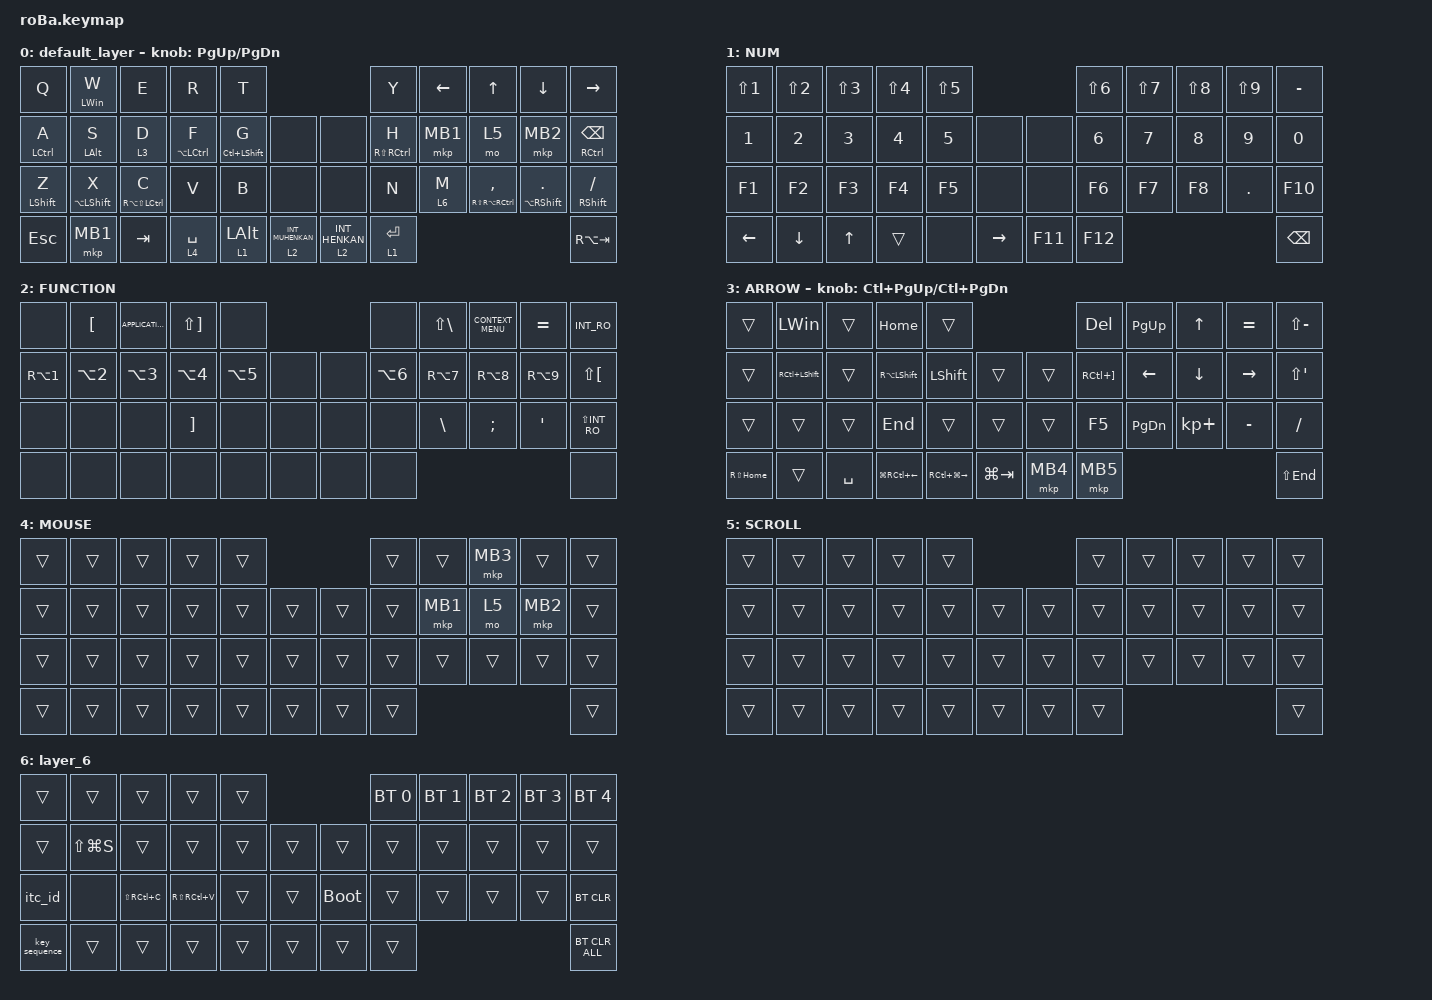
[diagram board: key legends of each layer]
#include <behaviors.dtsi>
#include <dt-bindings/zmk/bt.h>
#include <dt-bindings/zmk/keys.h>
#include <dt-bindings/zmk/pointing.h>

&mt {
    flavor = "tap-preferred";
    tapping-term-ms = <180>;
    require-prior-idle-ms = <70>;
};

&trackball {
    automouse-layer = <4>;
    scroll-layers = <5>;

    // arrows {
    //     layers = <3>;
    //     bindings =
    //         <&kp RIGHT_ARROW>,
    //         <&kp LEFT_ARROW>,
    //         <&kp UP_ARROW>,
    //         <&kp DOWN_ARROW>;
    //     tick = <10>;
    //     wait-ms = <5>;
    //     tap-ms = <5>;
    // };
};

/ {
    combos { compatible = "zmk,combos"; };

    macros {
        to_layer_0: to_layer_0 {
            compatible = "zmk,behavior-macro-one-param";
            #binding-cells = <1>;
            bindings = <&to 0 &macro_param_1to1 &kp MACRO_PLACEHOLDER>;
            label = "TO_LAYER_0";
        };

        key_sequence: key_sequense {
            compatible = "zmk,behavior-macro";
            #binding-cells = <0>;
            bindings = <&kp LS(I) &kp T &kp P &kp C &kp N1 &kp N8 &kp N5 &kp N8>;
            label = "KEY_SEQUENSE";
        };

        itc_id: itc_id {
            compatible = "zmk,behavior-macro";
            #binding-cells = <0>;
            bindings = <&kp N2 &kp N5 &kp N2 &kp N5 &kp N0 &kp N0 &kp N0>;
            label = "ITC_ID";
        };
    };

    behaviors {
        lt_to_layer_0: lt_to_layer_0 {
            compatible = "zmk,behavior-hold-tap";
            label = "LAYER_TAP_TO_0";
            bindings = <&mo>, <&to_layer_0>;

            // Strong tap bias for Space

            flavor = "tap-preferred";
            #binding-cells = <2>;
            tapping-term-ms = <300>;

            // Prevent hold during continuous typing

            require-prior-idle-ms = <500>;
        };
    };

    keymap {
        compatible = "zmk,keymap";

        default_layer {
            bindings = <
&kp Q               &mt LEFT_WIN W        &kp E                       &kp R                   &kp T                                                           &kp Y                    &kp LEFT_ARROW  &kp UP_ARROW                     &kp DOWN            &kp RIGHT
&mt LEFT_CONTROL A  &mt LEFT_ALT S        &lt 3 D                     &mt LA(LEFT_CONTROL) F  &mt LC(LEFT_SHIFT) G  &none                   &none             &mt RS(RIGHT_CONTROL) H  &mkp MB1        &mo 5                            &mkp MB2            &mt RIGHT_CONTROL BACKSPACE
&mt LEFT_SHIFT Z    &mt LA(LEFT_SHIFT) X  &mt RA(LS(LEFT_CONTROL)) C  &kp V                   &kp B                 &none                   &none             &kp N                    &lt 6 M         &mt RS(RA(RIGHT_CONTROL)) COMMA  &mt LA(RSHIFT) DOT  &mt RIGHT_SHIFT SLASH
&kp ESCAPE          &mkp MB1              &kp TAB                     &lt_to_layer_0 4 SPACE  &lt 1 LEFT_ALT        &lt 2 INT_MUHENKAN      &lt 2 INT_HENKAN  &lt 1 ENTER                                                                                   &kp RA(TAB)
            >;

            sensor-bindings = <&inc_dec_kp PG_UP PAGE_DOWN>;
        };

        NUM {
            bindings = <
&kp LS(NUMBER_1)  &kp LS(NUMBER_2)  &kp LS(NUMBER_3)  &kp LS(NUMBER_4)  &kp LS(N5)                          &kp LS(NUMBER_6)  &kp LS(N7)  &kp LS(N8)  &kp LS(N9)  &kp MINUS
&kp NUMBER_1      &kp NUMBER_2      &kp NUMBER_3      &kp NUMBER_4      &kp N5      &none          &none    &kp NUMBER_6      &kp N7      &kp N8      &kp N9      &kp N0
&kp F1            &kp F2            &kp F3            &kp F4            &kp F5      &none          &none    &kp F6            &kp F7      &kp F8      &kp PERIOD  &kp F10
&kp LEFT          &kp DOWN          &kp UP_ARROW      &trans            &none       &kp RIGHT      &kp F11  &kp F12                                               &kp BACKSPACE
            >;
        };

        FUNCTION {
            bindings = <
&none             &kp LEFT_BRACKET  &kp K_APPLICATION  &kp LS(RIGHT_BRACKET)  &none                         &none             &kp LS(BACKSLASH)  &kp K_CONTEXT_MENU  &kp EQUAL   &kp INT_RO
&kp RA(NUMBER_1)  &kp LA(NUMBER_2)  &kp LA(NUMBER_3)   &kp LA(NUMBER_4)       &kp LA(N5)  &none      &none  &kp LA(NUMBER_6)  &kp RA(N7)         &kp RA(N8)          &kp RA(N9)  &kp LS(LEFT_BRACKET)
&none             &none             &none              &kp RIGHT_BRACKET      &none       &none      &none  &none             &kp BACKSLASH      &kp SEMI            &kp APOS    &kp LS(INT_RO)
&none             &none             &none              &none                  &none       &none      &none  &none                                                                &none
            >;
        };

        ARROW {
            bindings = <
&trans        &kp LEFT_WIN        &trans     &kp HOME            &trans                                        &kp DEL                &kp PAGE_UP    &kp UP_ARROW  &kp EQUAL  &kp LS(MINUS)
&trans        &kp RC(LEFT_SHIFT)  &trans     &kp RA(LEFT_SHIFT)  &kp LEFT_SHIFT     &trans           &trans    &kp RC(RIGHT_BRACKET)  &kp LEFT       &kp DOWN      &kp RIGHT  &kp LS(SINGLE_QUOTE)
&trans        &trans              &trans     &kp END             &trans             &trans           &trans    &kp F5                 &kp PAGE_DOWN  &kp KP_PLUS   &kp MINUS  &kp SLASH
&kp RS(HOME)  &trans              &kp SPACE  &kp LG(RC(LEFT))    &kp RC(LG(RIGHT))  &kp LG(TAB)      &mkp MB4  &mkp MB5                                                       &kp LS(END)
            >;

            sensor-bindings = <&inc_dec_kp LC(PAGE_UP) LC(PAGE_DOWN)>;
        };

        MOUSE {
            bindings = <
&trans  &trans  &trans  &trans  &trans                      &trans  &trans    &mkp MB3  &trans    &trans
&trans  &trans  &trans  &trans  &trans  &trans      &trans  &trans  &mkp MB1  &mo 5     &mkp MB2  &trans
&trans  &trans  &trans  &trans  &trans  &trans      &trans  &trans  &trans    &trans    &trans    &trans
&trans  &trans  &trans  &trans  &trans  &trans      &trans  &trans                                &trans
            >;
        };

        SCROLL {
            bindings = <
&trans  &trans  &trans  &trans  &trans                      &trans  &trans  &trans  &trans  &trans
&trans  &trans  &trans  &trans  &trans  &trans      &trans  &trans  &trans  &trans  &trans  &trans
&trans  &trans  &trans  &trans  &trans  &trans      &trans  &trans  &trans  &trans  &trans  &trans
&trans  &trans  &trans  &trans  &trans  &trans      &trans  &trans                          &trans
            >;
        };

        layer_6 {
            bindings = <
&trans         &trans         &trans         &trans         &trans                           &bt BT_SEL 0  &bt BT_SEL 1  &bt BT_SEL 2  &bt BT_SEL 3  &bt BT_SEL 4
&trans         &kp LS(LG(S))  &trans         &trans         &trans  &trans      &trans       &trans        &trans        &trans        &trans        &trans
&itc_id        &none          &kp LS(RC(C))  &kp RS(RC(V))  &trans  &trans      &bootloader  &trans        &trans        &trans        &trans        &bt BT_CLR
&key_sequence  &trans         &trans         &trans         &trans  &trans      &trans       &trans                                                  &bt BT_CLR_ALL
            >;
        };
    };
};
